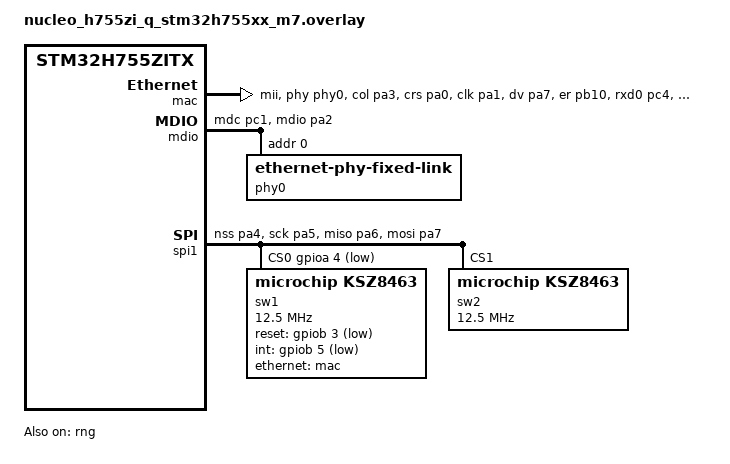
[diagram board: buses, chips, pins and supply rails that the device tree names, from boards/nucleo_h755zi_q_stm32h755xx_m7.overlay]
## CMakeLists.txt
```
# Copyright (c) 2026 Vilhelm Engström
#
# SPDX-License-Identifier: Apache-2.0

cmake_minimum_required(VERSION 3.20.0)

find_package(Zephyr REQUIRED HINTS $ENV{ZEPHYR_BASE})
project(dsa_ksz8463)

target_sources(app PRIVATE src/main.c)
```

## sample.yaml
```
sample:
  description: KSZ8463 DSA sample
  name: KSZ8463MLI DSA sample
common:
  harness: net
  tags:
    - net
    - dsa
tests:
  sample.net.dsa:
    build_only: true
    platform_allow:
      - nucleo_h755zi_q/stm32h755xx/m7
    depends_on: eth
```

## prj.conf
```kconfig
CONFIG_NETWORKING=y
CONFIG_NET_DSA=y

CONFIG_SPI=y

CONFIG_SHELL=y
CONFIG_NET_SHELL=y
```

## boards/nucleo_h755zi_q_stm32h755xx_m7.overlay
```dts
/*
 * Copyright (c) 2026 Vilhelm Engström
 *
 * SPDX-License-Identifier: Apache-2.0
 */

#include <st/h7/stm32h755zitx-pinctrl.dtsi>
#include <zephyr/dt-bindings/pinctrl/stm32-pinctrl.h>
#include <zephyr/dt-bindings/ethernet/dsa_tag_proto.h>

&mac {
	pinctrl-0 = <
		&eth_mii_col_pa3
		&eth_mii_crs_pa0
		&eth_mii_rx_clk_pa1
		&eth_mii_rx_dv_pa7
		&eth_mii_rx_er_pb10
		&eth_mii_rxd0_pc4
		&eth_mii_rxd1_pc5
		&eth_mii_rxd2_pb0
		&eth_mii_rxd3_pb1
		&eth_mii_tx_clk_pc3
		&eth_mii_tx_en_pb11
		&eth_mii_txd0_pb12
		&eth_mii_txd1_pb13
		&eth_mii_txd2_pc2
		&eth_mii_txd3_pb8
		&eth_mii_tx_er_pb2
	>;
	pinctrl-names = "default";

	phy-handle = <&phy0>;

	/* KSZ8463MLI uses MII */
	phy-connection-type = "mii";

	status = "okay";
};

&mdio {
	pinctrl-0 = <
		&eth_mdc_pc1
		&eth_mdio_pa2
	>;
	pinctrl-names = "default";

	status = "okay";

	/* PHY for CPU port */
	phy0: ethernet-phy@0 {
		/* Know the capabilities of both the MAC transceiver and
		 * the switch, no sense attempting to negotiate speeds
		 */
		compatible = "ethernet-phy-fixed-link";

		/* KSZ8463 capped at 100Mbps, Full-Duplex */
		default-speeds = "100BASE Full-Duplex";

		reg = <0>;
		status = "okay";
	};
};


&pinctrl {
	eth_mdc_pc1: eth_mdc_pc1 {
		pinmux = <
			STM32_PINMUX('C', 1, AF11) /* ETH_MDC */
		>;
	};

	eth_mdio_pa2: eth_mdio_pa2 {
		pinmux = <
			STM32_PINMUX('A', 2, AF11) /* ETH_MDIO */
		>;
	};

	eth_mii_col_pa3: eth_mii_col_pa3 {
		pinmux = <
			STM32_PINMUX('A', 3, AF11) /* ETH_MII_COL */
		>;
	};

	eth_mii_crs_pa0: eth_mii_crs_pa0 {
		pinmux = <
			STM32_PINMUX('A', 0, AF11) /* ETH_MII_CRS */
		>;
	};

	eth_mii_rx_clk_pa1: eth_mii_rx_clk_pa1 {
		pinmux = <
			STM32_PINMUX('A', 1, AF11) /* ETH_MII_RX_CLK */
		>;
	};

	eth_mii_rx_dv_pa7: eth_mii_rx_dv_pa7 {
		pinmux = <
			STM32_PINMUX('A', 7, AF11) /* ETH_MII_RX_DV */
		>;
	};

	eth_mii_rx_er_pb10: eth_mii_rx_er_pb10 {
		pinmux = <
			STM32_PINMUX('B', 10, AF11) /* ETH_MII_RX_ER */
		>;
	};

	eth_mii_rxd0_pc4: eth_mii_rxd0_pc4 {
		pinmux = <
			STM32_PINMUX('C', 4, AF11) /* ETH_MII_RXD0 */
		>;
	};

	eth_mii_rxd1_pc5: eth_mii_rxd1_pc5 {
		pinmux = <
			STM32_PINMUX('C', 5, AF11) /* ETH_MII_RXD1 */
		>;
	};

	eth_mii_rxd2_pb0: eth_mii_rxd2_pb0 {
		pinmux = <
			STM32_PINMUX('B', 0, AF11) /* ETH_MII_RXD2 */
		>;
	};

	eth_mii_rxd3_pb1: eth_mii_rxd3_pb1 {
		pinmux = <
			STM32_PINMUX('B', 1, AF11) /* ETH_MII_RXD3 */
		>;
	};

	eth_mii_tx_clk_pc3: eth_mii_tx_clk_pc3 {
		pinmux = <
			STM32_PINMUX('C', 3, AF11) /* ETH_MII_TX_CLK */
		>;
	};

	eth_mii_tx_en_pb11: eth_mii_tx_en_pb11 {
		pinmux = <
			STM32_PINMUX('B', 11, AF11) /* ETH_MII_TX_EN */
		>;
	};

	eth_mii_tx_er_pb2: eth_mii_tx_er_pb2 {
		pinmux = <
			STM32_PINMUX('B', 2, AF11) /* ETH_TX_ER */
		>;
	};

	eth_mii_txd0_pb12: eth_mii_txd0_pb12 {
		pinmux = <
			STM32_PINMUX('B', 12, AF11) /* ETH_MII_TXD0 */
		>;
	};

	eth_mii_txd1_pb13: eth_mii_txd1_pb13 {
		pinmux = <
			STM32_PINMUX('B', 13, AF11) /* ETH_MII_TXD1 */
		>;
	};

	eth_mii_txd2_pc2: eth_mii_txd2_pc2 {
		pinmux = <
			STM32_PINMUX('C', 2, AF11) /* ETH_MII_TXD2 */
		>;
	};

	eth_mii_txd3_pb8: eth_mii_txd3_pb8 {
		pinmux = <
			STM32_PINMUX('B', 8, AF11) /* ETH_MII_TXD3 */
		>;
	};

	spi1_nss_pa4: spi1_nss_pa4 {
		pinmux = <
			STM32_PINMUX('A', 4, AF5) /* SPI1_NSS */
		>;
	};

	spi1_sck_pa5: spi1_sck_pa5 {
		pinmux = <
			STM32_PINMUX('A', 5, AF5) /* SPI1_SCK */
		>;
	};

	spi1_miso_pa6: spi1_miso_pa6 {
		pinmux = <
			STM32_PINMUX('A', 6, AF5) /* SPI1_MISO */
		>;
	};

	spi1_mosi_pa7: spi1_mosi_pa7 {
		pinmux = <
			STM32_PINMUX('A', 7, AF5) /* SPI1_MOSI */
		>;
	};

	sw1_rst_pb3: sw1_rst_pb3 {
		pinmux = <
			STM32_PINMUX('B', 3, GPIO) /* GPIO */
		>;
	};

	sw1_irq_pb5: sw1_irq_pb5 {
		pinmux = <
			STM32_PINMUX('B', 5, GPIO) /* GPIO */
		>;
	};
};

/* For sys_rand_get */
&rng {
	status = "okay";
};

/* Switch connected to SPI bus 1 */
&spi1 {
	cs-gpios = <&gpioa 4 GPIO_ACTIVE_LOW>;

	pinctrl-0 = <
		&spi1_nss_pa4
		&spi1_sck_pa5
		&spi1_miso_pa6
		&spi1_mosi_pa7
	>;
	pinctrl-names = "default";

	status = "okay";

	sw1: ethernet-switch@0 {
		compatible = "microchip,ksz8463";

		/* Chip-select 0 */
		reg = <0>;

		#address-cells = <1>;
		#size-cells = <0>;

		spi-max-frequency = <DT_FREQ_K(12500)>;

		/* Hardware reset is active low */
		reset-gpios = <&gpiob 3 GPIO_ACTIVE_LOW>;

		/* Interrupt output is active low */
		int-gpios = <&gpiob 5 GPIO_ACTIVE_LOW>;

		/* Enable IGMP snooping */
		microchip,igmp-snoop-en;

		/* Enable MLD snooping */
		microchip,mld-snoop-en;

		status = "okay";

		/* User port 1 */
		sw1_port1: port@0 {
			compatible = "zephyr,dsa-port";
			reg = <0>;

			/* Use random MAC */
			zephyr,random-mac-address;

			status = "okay";

			/* Internal PHY */
			phy {
				compatible = "microchip,ksz8463-phy";

				/* Fall back on 10BASE Half-Duplex on auto-negotiation failure */
				microchip,fixed-link-speed = "10BASE Half-Duplex";

				status = "okay";
			};
		};

		/* User port 2 */
		sw1_port2: port@1 {
			compatible = "zephyr,dsa-port";
			reg = <1>;

			zephyr,random-mac-address;

			status = "okay";

			/* Internal PHY */
			phy {
				compatible = "microchip,ksz8463-phy";

				/* Fall back on 100BASE Full-Duplex on auto-negotiation failure */
				microchip,fixed-link-speed = "100BASE Full-Duplex";

				status = "okay";
			};
		};

		/* CPU port */
		sw1_port3: port@2 {
			compatible = "zephyr,dsa-port";
			reg = <2>;

			/* Port is connected to the STM MAC */
			ethernet = <&mac>;

			/* KSZ8463MLI uses MII */
			phy-connection-type = "mii";

			/* Note that the phy-handle property is not required
			 * in the CPU node. The DSA core will use to one associated
			 * with the node referred to by the ethernet phandle
			 */

			/* Enable tail tagging */
			dsa-tag-protocol = <DSA_TAG_PROTO_KSZ8463>;

			status = "okay";
		};
	};

	sw2: ethernet-switch@1 {
		compatible = "microchip,ksz8463";

		/* Chip-select 1 */
		reg = <1>;

		#address-cells = <1>;
		#size-cells = <0>;

		spi-max-frequency = <DT_FREQ_K(12500)>;

		/* Enable IGMP snooping */
		microchip,igmp-snoop-en;

		/* Enable MLD snooping */
		microchip,mld-snoop-en;

		status = "okay";

		/* User port 1 */
		sw2_port1: port@0 {
			compatible = "zephyr,dsa-port";
			reg = <0>;

			/* Use random MAC */
			zephyr,random-mac-address;

			status = "okay";

			/* Internal PHY */
			phy {
				compatible = "microchip,ksz8463-phy";

				/* Fall back on 10BASE Half-Duplex on auto-negotiation failure */
				microchip,fixed-link-speed = "10BASE Half-Duplex";

				status = "okay";
			};
		};

		/* User port 2 */
		sw2_port2: port@1 {
			compatible = "zephyr,dsa-port";
			reg = <1>;

			zephyr,random-mac-address;

			dsa-cascade-downstream = <&sw1_port2>;

			status = "okay";

			/* Internal PHY */
			phy {
				compatible = "microchip,ksz8463-phy";

				/* Fall back on 100BASE Full-Duplex on auto-negotiation failure */
				microchip,fixed-link-speed = "100BASE Full-Duplex";

				status = "okay";
			};
		};

		/* CPU port */
		sw2_port3: port@2 {
			compatible = "zephyr,dsa-port";

			reg = <2>;

			status = "disabled";
		};
	};
};
```

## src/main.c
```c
/*
 * Copyright (c) 2026 Vilhelm Engström
 *
 * SPDX-License-Identifier: Apache-2.0
 */

int main(void)
{

	return 0;
}
```
